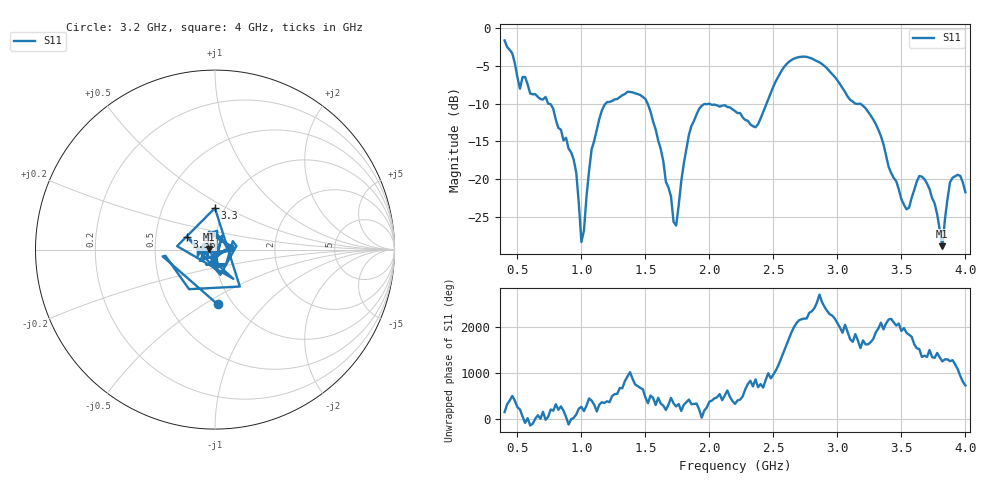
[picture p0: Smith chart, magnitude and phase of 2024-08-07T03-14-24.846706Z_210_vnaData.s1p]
!Created with skrf (http://scikit-rf.org).
# Hz S RI R 50.0
!freq ReS11 ImS11
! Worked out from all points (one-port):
!   181 points, 400 MHz to 4 GHz, reference 50 ohm
!   lowest |S11| = -28.9 dB at 3.82 GHz (marker M1), VSWR 1.07, Z = 46.5 + j0.313 ohm
!   |S11| at or under -10 dB: 739.7 MHz to 1.19 GHz (450.3 MHz wide, 46.7 % of centre); 1.517 GHz to 2.447 GHz (929.8 MHz wide, 46.9 % of centre); 3.139 GHz to end of sweep
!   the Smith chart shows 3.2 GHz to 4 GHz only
!   S11 on the Smith chart (normalised r, x): 3.2 GHz: 0.85, -0.57; 3.3 GHz: 0.90, +0.44; 3.36 GHz: 0.73, +0.11; 4 GHz: 1.18, +0.02
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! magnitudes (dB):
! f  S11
! 400 MHz  -1.7
! 520 MHz  -8.0
! 720 MHz  -9.1
! 860 MHz  -14.9
! 960 MHz  -19.2
! 1 GHz  -28.3
! 1.08 GHz  -16.0
! 1.14 GHz  -12.0
! 1.3 GHz  -9.1
! 1.5 GHz  -9.4
! 1.62 GHz  -16.0
! 1.72 GHz  -25.6
! 1.76 GHz  -23.5
! 1.84 GHz  -14.1
! 1.92 GHz  -10.7
! 2.2 GHz  -11.0
! 2.36 GHz  -13.1
! 2.66 GHz  -4.1
! 2.88 GHz  -4.8
! 3.1 GHz  -9.5
! 3.2 GHz  -10.3
! 3.3 GHz  -12.7
! 3.36 GHz  -15.4
! 3.56 GHz  -23.7
! 3.68 GHz  -20.0
! 3.82 GHz  -28.9
! 3.88 GHz  -20.4
! 4 GHz  -21.7
